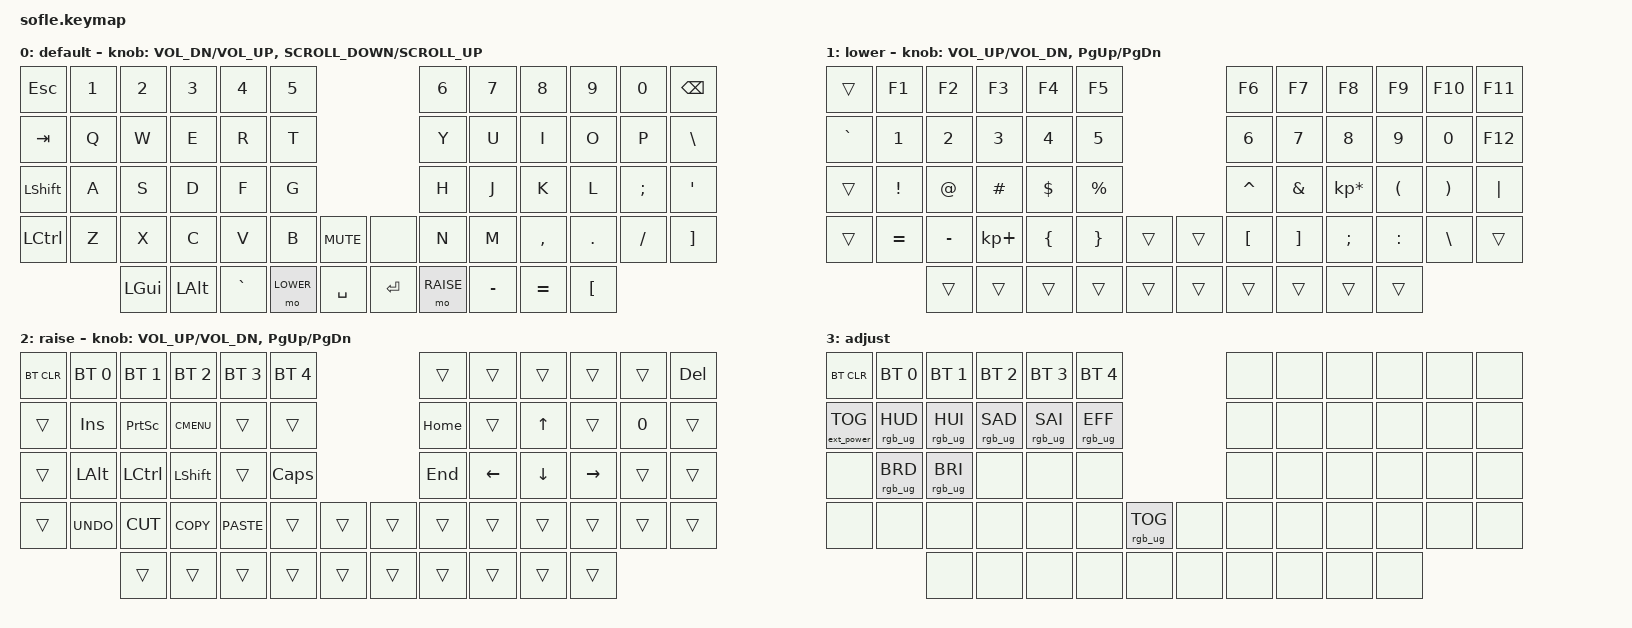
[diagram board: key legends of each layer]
/*
 * Copyright (c) 2020 The ZMK Contributors
 *
 * SPDX-License-Identifier: MIT
 */

#include <behaviors.dtsi>
#include <dt-bindings/zmk/bt.h>
#include <dt-bindings/zmk/ext_power.h>
#include <dt-bindings/zmk/keys.h>
#include <dt-bindings/zmk/rgb.h>

#define BASE 0
#define LOWER 1
#define RAISE 2
#define ADJUST 3

/ {
    /*
     * Generic VIA adapter: virtual 10x7 matrix -> ZMK physical key positions.
     * UINT8_MAX marks unused matrix slots. This is the only keyboard-specific
     * part required by the generic VIA module.
     */
    via_matrix: via_matrix {
        compatible = "zmk,via-matrix";
        rows = <10>;
        columns = <7>;
        map = <
            0 1 2 3 4 5 0xFF
            12 13 14 15 16 17 0xFF
            24 25 26 27 28 29 0xFF
            36 37 38 39 40 41 42
            50 51 52 53 54 0xFF 0xFF
            6 7 8 9 10 11 0xFF
            18 19 20 21 22 23 0xFF
            30 31 32 33 34 35 0xFF
            44 45 46 47 48 49 43
            55 56 57 58 59 0xFF 0xFF
        >;
    };

    behaviors {
        via_encoder: via_encoder {
            compatible = "zmk,via-encoder";
            #binding-cells = <1>;
            #sensor-binding-cells = <2>;
        };
        via_macro: via_macro {
            compatible = "zmk,via-macro";
            #binding-cells = <1>;
        };
        via_compat: via_compat {
            compatible = "zmk,via-compat";
            #binding-cells = <2>;
        };
    };
    // Activate ADJUST layer by pressing raise and lower

    conditional_layers {
        compatible = "zmk,conditional-layers";

        adjust_layer {
            if-layers = <LOWER RAISE>;
            then-layer = <ADJUST>;
        };
    };

    keymap {
        compatible = "zmk,keymap";

        default_layer {
            label = "default";

            // ------------------------------------------------------------------------------------------------------------
            // |   `   |  1  |  2  |  3   |  4   |  5   |                   |  6   |  7    |  8    |  9   |   0   |       |
            // |  ESC  |  Q  |  W  |  E   |  R   |  T   |                   |  Y   |  U    |  I    |  O   |   P   | BKSPC |
            // |  TAB  |  A  |  S  |  D   |  F   |  G   |                   |  H   |  J    |  K    |  L   |   ;   |   '   |
            // | SHIFT |  Z  |  X  |  C   |  V   |  B   |  MUTE  |  |       |  N   |  M    |  ,    |  .   |   /   | SHIFT |
            //               | GUI | ALT  | CTRL | LOWER|  ENTER |  | SPACE | RAISE| CTRL  | ALT   | GUI  |

            bindings = <
&kp ESC         &kp N1  &kp N2    &kp N3    &kp N4     &kp N5                              &kp N6     &kp N7     &kp N8     &kp N9            &kp N0    &kp BACKSPACE
&kp TAB         &kp Q   &kp W     &kp E     &kp R      &kp T                               &kp Y      &kp U      &kp I      &kp O             &kp P     &kp BACKSLASH
&kp LEFT_SHIFT  &kp A   &kp S     &kp D     &kp F      &kp G                               &kp H      &kp J      &kp K      &kp L             &kp SEMI  &kp SQT
&kp LCTRL       &kp Z   &kp X     &kp C     &kp V      &kp B      &kp C_MUTE    &none      &kp N      &kp M      &kp COMMA  &kp DOT           &kp FSLH  &kp RIGHT_BRACKET
                        &kp LGUI  &kp LALT  &kp GRAVE  &mo LOWER  &kp SPACE     &kp ENTER  &mo RAISE  &kp MINUS  &kp EQUAL  &kp LEFT_BRACKET
            >;

            sensor-bindings =
                <&inc_dec_kp C_VOL_DN C_VOL_UP>,
                <&inc_dec_kp K_SCROLL_DOWN K_SCROLL_UP>;
        };

        lower_layer {
            label = "lower";

            // TODO: Some binds are waiting for shifted keycode support.
            // ------------------------------------------------------------------------------------------------------------
            // |       |  F1 |  F2 |  F3  |  F4  |  F5  |                   |  F6  |  F7   |  F8   |  F9  |  F10  |  F11  |
            // |   `   |  1  |  2  |  3   |  4   |  5   |                   |  6   |  7    |  8    |  9   |   0   |  F12  |
            // |       |  !  |  @  |  #   |  $   |  %   |                   |  ^   |  &    |  *    |  (   |   )   |   |   |
            // |       |  =  |  -  |  +   |  {   |  }   |        |  |       |  [   |  ]    |  ;    |  :   |   \   |       |
            //               |     |      |      |      |        |  |       |      |       |       |      |

            bindings = <
&trans     &kp F1     &kp F2     &kp F3       &kp F4    &kp F5                       &kp F6     &kp F7    &kp F8           &kp F9     &kp F10   &kp F11
&kp GRAVE  &kp N1     &kp N2     &kp N3       &kp N4    &kp N5                       &kp N6     &kp N7    &kp N8           &kp N9     &kp N0    &kp F12
&trans     &kp EXCL   &kp AT     &kp HASH     &kp DLLR  &kp PRCNT                    &kp CARET  &kp AMPS  &kp KP_MULTIPLY  &kp LPAR   &kp RPAR  &kp PIPE
&trans     &kp EQUAL  &kp MINUS  &kp KP_PLUS  &kp LBRC  &kp RBRC   &trans    &trans  &kp LBKT   &kp RBKT  &kp SEMI         &kp COLON  &kp BSLH  &trans
                      &trans     &trans       &trans    &trans     &trans    &trans  &trans     &trans    &trans           &trans
            >;

            sensor-bindings = <&inc_dec_kp C_VOL_UP C_VOL_DN &inc_dec_kp PG_UP PG_DN>;
        };

        raise_layer {
            label = "raise";

            // ------------------------------------------------------------------------------------------------------------
            // | BTCLR | BT1  | BT2  |  BT3  |  BT4  |  BT5 |                |      |      |       |      |       |       |
            // |       | INS  | PSCR | GUI   |       |      |                | PGUP |      |   ^   |      |       |       |
            // |       | ALT  | CTRL | SHIFT |       | CAPS |                | PGDN |   <- |   v   |  ->  |  DEL  | BKSPC |
            // |       | UNDO | CUT  | COPY  | PASTE |      |      |  |      |      |      |       |      |       |       |
            //                |      |       |       |      |      |  |      |      |      |       |      |

            bindings = <
&bt BT_CLR  &bt BT_SEL 0  &bt BT_SEL 1  &bt BT_SEL 2  &bt BT_SEL 3  &bt BT_SEL 4                    &trans    &trans    &trans    &trans     &trans  &kp DELETE
&trans      &kp INS       &kp PSCRN     &kp K_CMENU   &trans        &trans                          &kp HOME  &trans    &kp UP    &trans     &kp N0  &trans
&trans      &kp LALT      &kp LCTRL     &kp LSHFT     &trans        &kp CLCK                        &kp END   &kp LEFT  &kp DOWN  &kp RIGHT  &trans  &trans
&trans      &kp K_UNDO    &kp K_CUT     &kp K_COPY    &kp K_PASTE   &trans        &trans    &trans  &trans    &trans    &trans    &trans     &trans  &trans
                          &trans        &trans        &trans        &trans        &trans    &trans  &trans    &trans    &trans    &trans
            >;

            sensor-bindings = <&inc_dec_kp C_VOL_UP C_VOL_DN &inc_dec_kp PG_UP PG_DN>;
        };

        adjust_layer {
            // ----------------------------------------------------------------------------------------------------------------------------
            // | BTCLR  |  BT1    |  BT2    |   BT3   |   BT4   |   BT5   |                  |      |      |       |      |       |       |
            // | EXTPWR | RGB_HUD | RGB_HUI | RGB_SAD | RGB_SAI | RGB_EFF |                  |      |      |       |      |       |       |
            // |        | RGB_BRD | RGB_BRI |         |         |         |                  |      |      |       |      |       |       |
            // |        |         |         |         |         |         | RGB_TOG | |      |      |      |       |      |       |       |
            //                    |         |         |         |         |         | |      |      |      |       |      |

            label = "adjust";
            bindings = <
&bt BT_CLR         &bt BT_SEL 0     &bt BT_SEL 1     &bt BT_SEL 2     &bt BT_SEL 3     &bt BT_SEL 4                               &none  &none  &none  &none  &none  &none
&ext_power EP_TOG  &rgb_ug RGB_HUD  &rgb_ug RGB_HUI  &rgb_ug RGB_SAD  &rgb_ug RGB_SAI  &rgb_ug RGB_EFF                            &none  &none  &none  &none  &none  &none
&none              &rgb_ug RGB_BRD  &rgb_ug RGB_BRI  &none            &none            &none                                      &none  &none  &none  &none  &none  &none
&none              &none            &none            &none            &none            &none            &rgb_ug RGB_TOG    &none  &none  &none  &none  &none  &none  &none
                                    &none            &none            &none            &none            &none              &none  &none  &none  &none  &none
            >;
        };
    };
};

&left_encoder {
    a-gpios = <&pro_micro 20 (GPIO_ACTIVE_HIGH | GPIO_PULL_UP)>;
    b-gpios = <&pro_micro 21 (GPIO_ACTIVE_HIGH | GPIO_PULL_UP)>;
};

&right_encoder {
    a-gpios = <&pro_micro 21 (GPIO_ACTIVE_HIGH | GPIO_PULL_UP)>;
    b-gpios = <&pro_micro 20 (GPIO_ACTIVE_HIGH | GPIO_PULL_UP)>;
};
